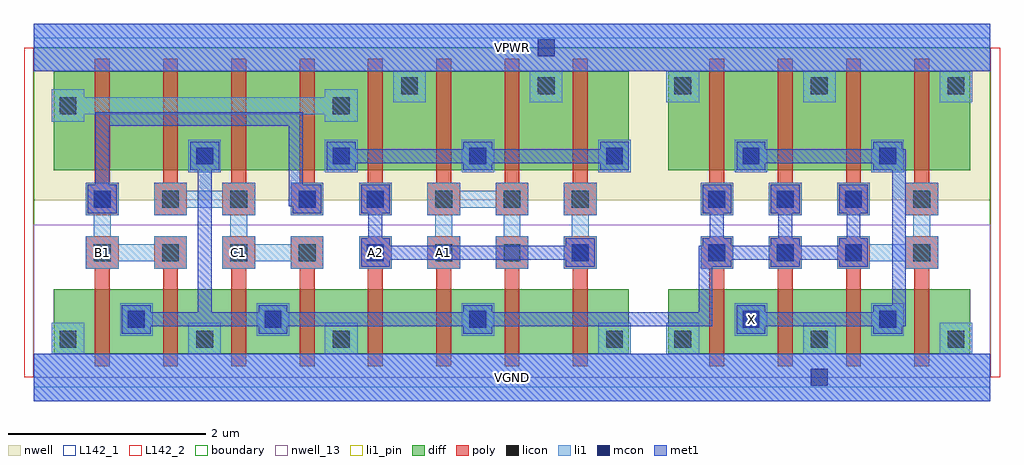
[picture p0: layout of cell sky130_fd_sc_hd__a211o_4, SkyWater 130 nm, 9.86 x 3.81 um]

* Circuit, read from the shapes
.subckt sky130_fd_sc_hd__a211o_4 A1 A2 B1 C1 VGND VPWR X
XM1 n1 B1 VGND VSUBS sky130_fd_pr__nfet_01v8 w=0.65 l=0.15 m=2
XM2 n1 C1 VGND VSUBS sky130_fd_pr__nfet_01v8 w=0.65 l=0.15 m=2
XM3 n2 A2 VGND VSUBS sky130_fd_pr__nfet_01v8 w=0.65 l=0.15
XM4 n1 A1 n2 VSUBS sky130_fd_pr__nfet_01v8 w=0.65 l=0.15
XM5 n3 A1 n1 VSUBS sky130_fd_pr__nfet_01v8 w=0.65 l=0.15
XM6 VGND A2 n3 VSUBS sky130_fd_pr__nfet_01v8 w=0.65 l=0.15
XM7 X n1 VGND VSUBS sky130_fd_pr__nfet_01v8 w=0.65 l=0.15 m=4
XM8 n4 B1 n5 n6 sky130_fd_pr__pfet_01v8 w=1 l=0.15
XM9 n1 C1 n4 n6 sky130_fd_pr__pfet_01v8 w=1 l=0.15
XM10 n7 C1 n1 n6 sky130_fd_pr__pfet_01v8 w=1 l=0.15
XM11 n5 B1 n7 n6 sky130_fd_pr__pfet_01v8 w=1 l=0.15
XM12 VPWR A2 n5 n6 sky130_fd_pr__pfet_01v8 w=1 l=0.15 m=2
XM13 n5 A1 VPWR n6 sky130_fd_pr__pfet_01v8 w=1 l=0.15 m=2
XM14 X n1 VPWR n6 sky130_fd_pr__pfet_01v8 w=1 l=0.15 m=4
.ends

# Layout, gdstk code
import gdstk
lib = gdstk.Library(unit=1e-6, precision=1e-09)
def R(c, l, rs):  # rectangles x0, y0, x1, y1
    for r in rs: c.add(gdstk.rectangle(r[:2], r[2:], *l))
def A(c, l, x, y, w, h, nx, ny, dx, dy):  # array of equal rectangles
    R(c, l, [(x+i*dx, y+j*dy, x+i*dx+w, y+j*dy+h) for i in range(nx) for j in range(ny)])
def P(c, l, *ps):  # polygons
    for p in ps: c.add(gdstk.Polygon(p, *l))
nwell_13 = (64, 13)
nwell = (64, 20)
diff = (65, 20)
poly = (66, 20)
licon = (66, 44)
li1_pin = (67, 16)
li1 = (67, 20)
mcon = (67, 44)
met1 = (68, 20)
L142_1 = (142, 1)
L142_2 = (142, 2)
boundary = (235, 4)

sky130_fd_sc_hd__a211o_4 = lib.new_cell('sky130_fd_sc_hd__a211o_4')
R(sky130_fd_sc_hd__a211o_4, nwell_13, [(0,0,9.66,1.54)])
R(sky130_fd_sc_hd__a211o_4, nwell, [(0,1.79,9.66,3.33)])
A(sky130_fd_sc_hd__a211o_4, diff, 0.615, 0.24, 0.69, 0.65, 7, 1, 0.69, 0)
A(sky130_fd_sc_hd__a211o_4, diff, 6.825, 0.24, 0.69, 0.65, 3, 1, 0.69, 0)
A(sky130_fd_sc_hd__a211o_4, diff, 0.615, 2.09, 0.69, 1, 7, 1, 0.69, 0)
A(sky130_fd_sc_hd__a211o_4, diff, 6.825, 2.09, 0.69, 1, 3, 1, 0.69, 0)
R(sky130_fd_sc_hd__a211o_4, diff, [(0.2,0.24,6.01,0.89), (0.2,0.24,0.615,0.89), (5.445,0.24,6.01,0.89), (6.41,0.24,9.46,0.89), (6.41,0.24,6.825,0.89), (8.895,0.24,9.46,0.89), (0.2,2.09,6.01,3.09), (0.2,2.09,0.615,3.09), (5.445,2.09,6.01,3.09), (6.41,2.09,9.46,3.09), (6.41,2.09,6.825,3.09), (8.895,2.09,9.46,3.09)])
P(sky130_fd_sc_hd__a211o_4, poly, [(6.825,0.11),(6.825,1.095),(6.735,1.095),(6.735,1.425),(7.065,1.425),(7.065,1.095),(6.975,1.095),(6.975,0.11)],
  [(7.515,0.11),(7.515,1.095),(7.425,1.095),(7.425,1.425),(7.755,1.425),(7.755,1.095),(7.665,1.095),(7.665,0.11)],
  [(8.205,0.11),(8.205,1.095),(8.115,1.095),(8.115,1.425),(8.445,1.425),(8.445,1.095),(8.355,1.095),(8.355,0.11)],
  [(8.895,0.11),(8.895,1.095),(8.805,1.095),(8.805,1.425),(9.135,1.425),(9.135,1.095),(9.045,1.095),(9.045,0.11)],
  [(6.735,1.635),(6.735,1.965),(6.825,1.965),(6.825,3.22),(6.975,3.22),(6.975,1.965),(7.065,1.965),(7.065,1.635)],
  [(7.425,1.635),(7.425,1.965),(7.515,1.965),(7.515,3.22),(7.665,3.22),(7.665,1.965),(7.755,1.965),(7.755,1.635)],
  [(8.115,1.635),(8.115,1.965),(8.205,1.965),(8.205,3.22),(8.355,3.22),(8.355,1.965),(8.445,1.965),(8.445,1.635)],
  [(8.805,1.635),(8.805,1.965),(8.895,1.965),(8.895,3.22),(9.045,3.22),(9.045,1.965),(9.135,1.965),(9.135,1.635)],
  [(3.375,0.11),(3.375,1.095),(3.285,1.095),(3.285,1.425),(3.615,1.425),(3.615,1.095),(3.525,1.095),(3.525,0.11)],
  [(5.445,0.11),(5.445,1.095),(5.355,1.095),(5.355,1.425),(5.685,1.425),(5.685,1.095),(5.595,1.095),(5.595,0.11)],
  [(3.285,1.635),(3.285,1.965),(3.375,1.965),(3.375,3.22),(3.525,3.22),(3.525,1.965),(3.615,1.965),(3.615,1.635)],
  [(5.355,1.635),(5.355,1.965),(5.445,1.965),(5.445,3.22),(5.595,3.22),(5.595,1.965),(5.685,1.965),(5.685,1.635)],
  [(4.065,0.11),(4.065,1.095),(3.975,1.095),(3.975,1.425),(4.305,1.425),(4.305,1.095),(4.215,1.095),(4.215,0.11)],
  [(4.755,0.11),(4.755,1.095),(4.665,1.095),(4.665,1.425),(4.995,1.425),(4.995,1.095),(4.905,1.095),(4.905,0.11)],
  [(3.975,1.635),(3.975,1.965),(4.065,1.965),(4.065,3.22),(4.215,3.22),(4.215,1.965),(4.305,1.965),(4.305,1.635)],
  [(4.665,1.635),(4.665,1.965),(4.755,1.965),(4.755,3.22),(4.905,3.22),(4.905,1.965),(4.995,1.965),(4.995,1.635)],
  [(1.995,0.11),(1.995,1.095),(1.905,1.095),(1.905,1.425),(2.235,1.425),(2.235,1.095),(2.145,1.095),(2.145,0.11)],
  [(2.685,0.11),(2.685,1.095),(2.595,1.095),(2.595,1.425),(2.925,1.425),(2.925,1.095),(2.835,1.095),(2.835,0.11)],
  [(1.215,1.635),(1.215,1.965),(1.305,1.965),(1.305,3.22),(1.455,3.22),(1.455,1.965),(1.545,1.965),(1.545,1.635)],
  [(1.905,1.635),(1.905,1.965),(1.995,1.965),(1.995,3.22),(2.145,3.22),(2.145,1.965),(2.235,1.965),(2.235,1.635)],
  [(0.615,0.11),(0.615,1.095),(0.525,1.095),(0.525,1.425),(0.855,1.425),(0.855,1.095),(0.765,1.095),(0.765,0.11)],
  [(1.305,0.11),(1.305,1.095),(1.215,1.095),(1.215,1.425),(1.545,1.425),(1.545,1.095),(1.455,1.095),(1.455,0.11)],
  [(0.525,1.635),(0.525,1.965),(0.615,1.965),(0.615,3.22),(0.765,3.22),(0.765,1.965),(0.855,1.965),(0.855,1.635)],
  [(2.595,1.635),(2.595,1.965),(2.685,1.965),(2.685,3.22),(2.835,3.22),(2.835,1.965),(2.925,1.965),(2.925,1.635)])
A(sky130_fd_sc_hd__a211o_4, licon, 0.26, 0.3, 0.17, 0.17, 3, 1, 1.38, 0)
A(sky130_fd_sc_hd__a211o_4, licon, 6.47, 0.3, 0.17, 0.17, 3, 1, 1.38, 0)
A(sky130_fd_sc_hd__a211o_4, licon, 0.605, 1.175, 0.17, 0.17, 8, 2, 0.69, 0.54)
A(sky130_fd_sc_hd__a211o_4, licon, 6.815, 1.175, 0.17, 0.17, 4, 2, 0.69, 0.54)
A(sky130_fd_sc_hd__a211o_4, licon, 1.64, 2.15, 0.17, 0.17, 6, 1, 1.38, 0)
A(sky130_fd_sc_hd__a211o_4, licon, 3.71, 2.86, 0.17, 0.17, 5, 1, 1.38, 0)
R(sky130_fd_sc_hd__a211o_4, licon, [(5.78,0.3,5.95,0.47), (0.95,0.5,1.12,0.67), (2.33,0.5,2.5,0.67), (4.4,0.5,4.57,0.67), (7.16,0.5,7.33,0.67), (8.54,0.5,8.71,0.67), (0.26,2.66,0.43,2.83), (3.02,2.66,3.19,2.83)])
R(sky130_fd_sc_hd__a211o_4, li1_pin, [(0,-0.24,9.66,0.24), (7.08,0.42,7.41,0.75), (3.285,1.095,3.615,1.425), (0,3.09,9.66,3.57)])
P(sky130_fd_sc_hd__a211o_4, li1_pin, [(3.975,1.095),(3.975,1.425),(4.055,1.425),(4.055,1.635),(3.975,1.635),(3.975,1.965),(4.305,1.965),(4.305,1.885),(4.665,1.885),(4.665,1.965),(4.995,1.965),(4.995,1.635),(4.915,1.635),(4.915,1.425),(4.995,1.425),(4.995,1.095),(4.665,1.095),(4.665,1.425),(4.745,1.425),(4.745,1.635),(4.665,1.635),(4.665,1.715),(4.305,1.715),(4.305,1.635),(4.225,1.635),(4.225,1.425),(4.305,1.425),(4.305,1.095)],
  [(0.525,1.095),(0.525,1.425),(0.605,1.425),(0.605,1.635),(0.525,1.635),(0.525,1.965),(0.855,1.965),(0.855,1.635),(0.775,1.635),(0.775,1.425),(0.855,1.425),(0.855,1.345),(1.215,1.345),(1.215,1.425),(1.545,1.425),(1.545,1.095),(1.215,1.095),(1.215,1.175),(0.855,1.175),(0.855,1.095)],
  [(1.905,1.095),(1.905,1.425),(1.985,1.425),(1.985,1.635),(1.905,1.635),(1.905,1.715),(1.545,1.715),(1.545,1.635),(1.215,1.635),(1.215,1.965),(1.545,1.965),(1.545,1.885),(1.905,1.885),(1.905,1.965),(2.235,1.965),(2.235,1.635),(2.155,1.635),(2.155,1.425),(2.235,1.425),(2.235,1.345),(2.595,1.345),(2.595,1.425),(2.925,1.425),(2.925,1.095),(2.595,1.095),(2.595,1.175),(2.235,1.175),(2.235,1.095)])
A(sky130_fd_sc_hd__a211o_4, li1, 6.735, 1.635, 0.33, 0.33, 3, 1, 0.69, 0)
A(sky130_fd_sc_hd__a211o_4, li1, 1.56, 2.07, 0.33, 0.33, 6, 1, 1.38, 0)
R(sky130_fd_sc_hd__a211o_4, li1, [(0.87,0.42,1.2,0.75), (2.25,0.42,2.58,0.75), (4.32,0.42,4.65,0.75), (7.08,0.42,7.41,0.75), (8.46,0.42,8.79,0.75), (3.285,1.095,3.615,1.425), (6.735,1.095,7.065,1.425), (7.425,1.095,7.755,1.425), (2.595,1.635,2.925,1.965), (3.285,1.635,3.615,1.965)])
P(sky130_fd_sc_hd__a211o_4, li1, [(8.115,1.095),(8.115,1.425),(8.445,1.425),(8.445,1.345),(8.805,1.345),(8.805,1.425),(8.885,1.425),(8.885,1.635),(8.805,1.635),(8.805,1.965),(9.135,1.965),(9.135,1.635),(9.055,1.635),(9.055,1.425),(9.135,1.425),(9.135,1.095),(8.805,1.095),(8.805,1.175),(8.445,1.175),(8.445,1.095)],
  [(5.355,1.095),(5.355,1.425),(5.435,1.425),(5.435,1.635),(5.355,1.635),(5.355,1.965),(5.685,1.965),(5.685,1.635),(5.605,1.635),(5.605,1.425),(5.685,1.425),(5.685,1.095)],
  [(3.63,2.78),(3.63,3.09),(0,3.09),(0,3.57),(9.66,3.57),(9.66,3.09),(9.48,3.09),(9.48,2.78),(9.15,2.78),(9.15,3.09),(8.1,3.09),(8.1,2.78),(7.77,2.78),(7.77,3.09),(6.72,3.09),(6.72,2.78),(6.39,2.78),(6.39,3.09),(5.34,3.09),(5.34,2.78),(5.01,2.78),(5.01,3.09),(3.96,3.09),(3.96,2.78)],
  [(3.975,1.095),(3.975,1.425),(4.055,1.425),(4.055,1.635),(3.975,1.635),(3.975,1.965),(4.305,1.965),(4.305,1.885),(4.665,1.885),(4.665,1.965),(4.995,1.965),(4.995,1.635),(4.915,1.635),(4.915,1.425),(4.995,1.425),(4.995,1.095),(4.665,1.095),(4.665,1.425),(4.745,1.425),(4.745,1.635),(4.665,1.635),(4.665,1.715),(4.305,1.715),(4.305,1.635),(4.225,1.635),(4.225,1.425),(4.305,1.425),(4.305,1.095)],
  [(0.18,2.58),(0.18,2.91),(0.51,2.91),(0.51,2.83),(2.94,2.83),(2.94,2.91),(3.27,2.91),(3.27,2.58),(2.94,2.58),(2.94,2.66),(0.51,2.66),(0.51,2.58)],
  [(0,-0.24),(0,0.24),(0.18,0.24),(0.18,0.55),(0.51,0.55),(0.51,0.24),(1.56,0.24),(1.56,0.55),(1.89,0.55),(1.89,0.24),(2.94,0.24),(2.94,0.55),(3.27,0.55),(3.27,0.24),(5.7,0.24),(5.7,0.55),(6.03,0.55),(6.03,0.24),(6.39,0.24),(6.39,0.55),(6.72,0.55),(6.72,0.24),(7.77,0.24),(7.77,0.55),(8.1,0.55),(8.1,0.24),(9.15,0.24),(9.15,0.55),(9.48,0.55),(9.48,0.24),(9.66,0.24),(9.66,-0.24)],
  [(1.905,1.095),(1.905,1.425),(1.985,1.425),(1.985,1.635),(1.905,1.635),(1.905,1.715),(1.545,1.715),(1.545,1.635),(1.215,1.635),(1.215,1.965),(1.545,1.965),(1.545,1.885),(1.905,1.885),(1.905,1.965),(2.235,1.965),(2.235,1.635),(2.155,1.635),(2.155,1.425),(2.235,1.425),(2.235,1.345),(2.595,1.345),(2.595,1.425),(2.925,1.425),(2.925,1.095),(2.595,1.095),(2.595,1.175),(2.235,1.175),(2.235,1.095)],
  [(0.525,1.095),(0.525,1.425),(0.605,1.425),(0.605,1.635),(0.525,1.635),(0.525,1.965),(0.855,1.965),(0.855,1.635),(0.775,1.635),(0.775,1.425),(0.855,1.425),(0.855,1.345),(1.215,1.345),(1.215,1.425),(1.545,1.425),(1.545,1.095),(1.215,1.095),(1.215,1.175),(0.855,1.175),(0.855,1.095)])
A(sky130_fd_sc_hd__a211o_4, mcon, 6.815, 1.175, 0.17, 0.17, 3, 2, 0.69, 0.54)
A(sky130_fd_sc_hd__a211o_4, mcon, 1.64, 2.15, 0.17, 0.17, 6, 1, 1.38, 0)
R(sky130_fd_sc_hd__a211o_4, mcon, [(7.85,-0.085,8.02,0.085), (0.95,0.5,1.12,0.67), (2.33,0.5,2.5,0.67), (4.4,0.5,4.57,0.67), (7.16,0.5,7.33,0.67), (8.54,0.5,8.71,0.67), (3.365,1.175,3.535,1.345), (5.435,1.175,5.605,1.345), (0.605,1.715,0.775,1.885), (2.675,1.715,2.845,1.885), (3.365,1.715,3.535,1.885), (5.09,3.245,5.26,3.415)])
R(sky130_fd_sc_hd__a211o_4, met1, [(0,-0.24,9.66,0.24), (0,3.09,9.66,3.57)])
P(sky130_fd_sc_hd__a211o_4, met1, [(0.89,0.44),(0.89,0.73),(1.18,0.73),(1.18,0.655),(1.655,0.655),(1.655,2.09),(1.58,2.09),(1.58,2.38),(1.87,2.38),(1.87,2.09),(1.795,2.09),(1.795,0.655),(2.27,0.655),(2.27,0.73),(2.56,0.73),(2.56,0.655),(4.34,0.655),(4.34,0.73),(4.63,0.73),(4.63,0.655),(6.715,0.655),(6.715,1.33),(6.755,1.33),(6.755,1.405),(6.83,1.405),(6.83,1.655),(6.755,1.655),(6.755,1.945),(7.045,1.945),(7.045,1.655),(6.97,1.655),(6.97,1.405),(7.045,1.405),(7.045,1.33),(7.445,1.33),(7.445,1.405),(7.52,1.405),(7.52,1.655),(7.445,1.655),(7.445,1.945),(7.735,1.945),(7.735,1.655),(7.66,1.655),(7.66,1.405),(7.735,1.405),(7.735,1.33),(8.135,1.33),(8.135,1.405),(8.21,1.405),(8.21,1.655),(8.135,1.655),(8.135,1.945),(8.425,1.945),(8.425,1.655),(8.35,1.655),(8.35,1.405),(8.425,1.405),(8.425,1.115),(8.135,1.115),(8.135,1.19),(7.735,1.19),(7.735,1.115),(7.445,1.115),(7.445,1.19),(7.045,1.19),(7.045,1.115),(6.855,1.115),(6.855,0.515),(4.63,0.515),(4.63,0.44),(4.34,0.44),(4.34,0.515),(2.56,0.515),(2.56,0.44),(2.27,0.44),(2.27,0.515),(1.18,0.515),(1.18,0.44)],
  [(3.305,1.115),(3.305,1.405),(3.38,1.405),(3.38,1.655),(3.305,1.655),(3.305,1.945),(3.595,1.945),(3.595,1.655),(3.52,1.655),(3.52,1.405),(3.595,1.405),(3.595,1.33),(5.375,1.33),(5.375,1.405),(5.665,1.405),(5.665,1.115),(5.375,1.115),(5.375,1.19),(3.595,1.19),(3.595,1.115)],
  [(2.96,2.09),(2.96,2.38),(3.25,2.38),(3.25,2.305),(4.34,2.305),(4.34,2.38),(4.63,2.38),(4.63,2.305),(5.72,2.305),(5.72,2.38),(6.01,2.38),(6.01,2.09),(5.72,2.09),(5.72,2.165),(4.63,2.165),(4.63,2.09),(4.34,2.09),(4.34,2.165),(3.25,2.165),(3.25,2.09)],
  [(0.545,1.655),(0.545,1.945),(0.62,1.945),(0.62,2.68),(2.715,2.68),(2.715,1.945),(2.905,1.945),(2.905,1.655),(2.615,1.655),(2.615,1.73),(2.575,1.73),(2.575,2.54),(0.76,2.54),(0.76,1.945),(0.835,1.945),(0.835,1.655)],
  [(7.1,0.44),(7.1,0.73),(7.39,0.73),(7.39,0.655),(8.48,0.655),(8.48,0.73),(8.67,0.73),(8.67,2.09),(8.48,2.09),(8.48,2.165),(7.39,2.165),(7.39,2.09),(7.1,2.09),(7.1,2.38),(7.39,2.38),(7.39,2.305),(8.48,2.305),(8.48,2.38),(8.77,2.38),(8.77,2.305),(8.81,2.305),(8.81,0.515),(8.77,0.515),(8.77,0.44),(8.48,0.44),(8.48,0.515),(7.39,0.515),(7.39,0.44)])
R(sky130_fd_sc_hd__a211o_4, L142_1, [(0,-0.1,9.66,0), (0,3.33,9.66,3.43)])
R(sky130_fd_sc_hd__a211o_4, L142_2, [(-0.1,0,0,3.33), (9.66,0,9.76,3.33)])
R(sky130_fd_sc_hd__a211o_4, boundary, [(0,0,9.66,3.33)])
sky130_fd_sc_hd__a211o_4.add(gdstk.Label('X', (7.245,0.585), layer=67, texttype=5))
sky130_fd_sc_hd__a211o_4.add(gdstk.Label('A1', (4.14,1.26), layer=67, texttype=5))
sky130_fd_sc_hd__a211o_4.add(gdstk.Label('A2', (3.45,1.26), layer=67, texttype=5))
sky130_fd_sc_hd__a211o_4.add(gdstk.Label('B1', (0.69,1.26), layer=67, texttype=5))
sky130_fd_sc_hd__a211o_4.add(gdstk.Label('C1', (2.07,1.26), layer=67, texttype=5))
sky130_fd_sc_hd__a211o_4.add(gdstk.Label('VGND', (4.83,0), layer=67, texttype=5))
sky130_fd_sc_hd__a211o_4.add(gdstk.Label('VPWR', (4.83,3.33), layer=67, texttype=5))
sky130_fd_sc_hd__a211o_4.add(gdstk.Label('VGND', (4.83,0), layer=68, texttype=5))
sky130_fd_sc_hd__a211o_4.add(gdstk.Label('VPWR', (4.83,3.33), layer=68, texttype=5))

lib.write_gds('sky130_fd_sc_hd__a211o_4.gds')
